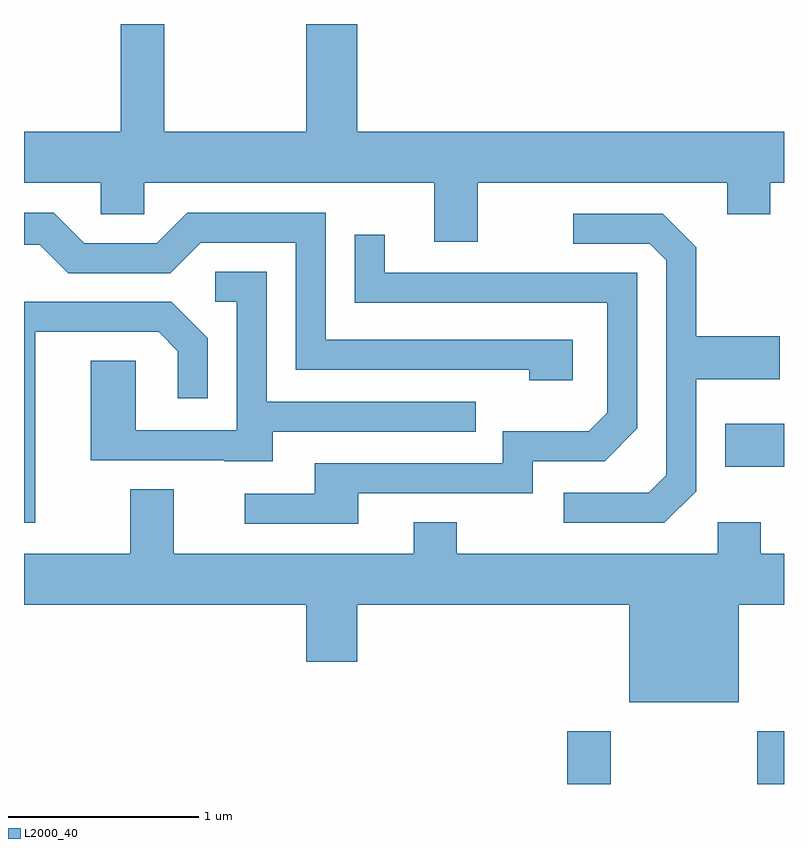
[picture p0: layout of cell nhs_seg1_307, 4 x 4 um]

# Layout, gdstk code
import gdstk
lib = gdstk.Library(unit=1e-6, precision=1e-09)
def R(c, l, rs):  # rectangles x0, y0, x1, y1
    for r in rs: c.add(gdstk.rectangle(r[:2], r[2:], *l))
def P(c, l, *ps):  # polygons
    for p in ps: c.add(gdstk.Polygon(p, *l))
L2000_40 = (2000, 40)

nhs_seg1_307 = lib.new_cell('nhs_seg1_307')
R(nhs_seg1_307, L2000_40, [(196.471,929.712,196.699,929.989), (197.471,929.712,197.611,929.989), (197.301,931.381,197.611,931.609)])
P(nhs_seg1_307, L2000_40, [(195.999,932.876),(197.311,932.876),(197.311,932.711),(197.539,932.711),(197.539,932.876),(197.611,932.876),(197.611,933.144),(195.364,933.144),(195.364,933.712),(195.096,933.712),(195.096,933.144),(194.349,933.144),(194.349,933.712),(194.121,933.712),(194.121,933.144),(193.611,933.144),(193.611,932.876),(194.016,932.876),(194.016,932.711),(194.244,932.711),(194.244,932.876),(195.771,932.876),(195.771,932.566),(195.999,932.566)],
  [(196.499,932.049),(195.199,932.049),(195.199,932.719),(194.469,932.719),(194.309,932.559),(193.927,932.559),(193.767,932.719),(193.611,932.719),(193.611,932.551),(193.694,932.551),(193.844,932.401),(194.382,932.401),(194.542,932.561),(195.041,932.561),(195.041,931.891),(196.271,931.891),(196.271,931.836),(196.499,931.836)],
  [(197.149,931.254),(197.149,931.841),(197.589,931.841),(197.589,932.069),(197.149,932.069),(197.149,932.537),(196.972,932.714),(196.503,932.714),(196.503,932.556),(196.904,932.556),(196.991,932.469),(196.991,931.337),(196.899,931.244),(196.453,931.244),(196.453,931.086),(196.982,931.086)],
  [(195.369,931.241),(196.289,931.241),(196.289,931.411),(196.667,931.411),(196.839,931.584),(196.839,932.404),(195.509,932.404),(195.509,932.603),(195.351,932.603),(195.351,932.246),(196.681,932.246),(196.681,931.667),(196.584,931.569),(196.131,931.569),(196.131,931.399),(195.141,931.399),(195.141,931.239),(194.773,931.239),(194.773,931.081),(195.369,931.081)],
  [(194.919,931.566),(195.988,931.566),(195.988,931.724),(194.889,931.724),(194.889,932.409),(194.618,932.409),(194.618,932.251),(194.731,932.251),(194.731,931.574),(194.199,931.574),(194.199,931.939),(193.961,931.939),(193.961,931.416),(194.665,931.416),(194.665,931.411),(194.919,931.411)],
  [(193.669,932.091),(194.319,932.091),(194.421,931.989),(194.421,931.743),(194.579,931.743),(194.579,932.057),(194.387,932.249),(193.611,932.249),(193.611,931.086),(193.669,931.086)],
  [(197.374,930.656),(197.611,930.656),(197.611,930.924),(197.489,930.924),(197.489,931.089),(197.261,931.089),(197.261,930.924),(195.889,930.924),(195.889,931.089),(195.661,931.089),(195.661,930.924),(194.399,930.924),(194.399,931.264),(194.171,931.264),(194.171,930.924),(193.611,930.924),(193.611,930.656),(195.096,930.656),(195.096,930.356),(195.364,930.356),(195.364,930.656),(196.796,930.656),(196.796,930.141),(197.374,930.141)])

lib.write_gds('nhs_seg1_307.gds')
